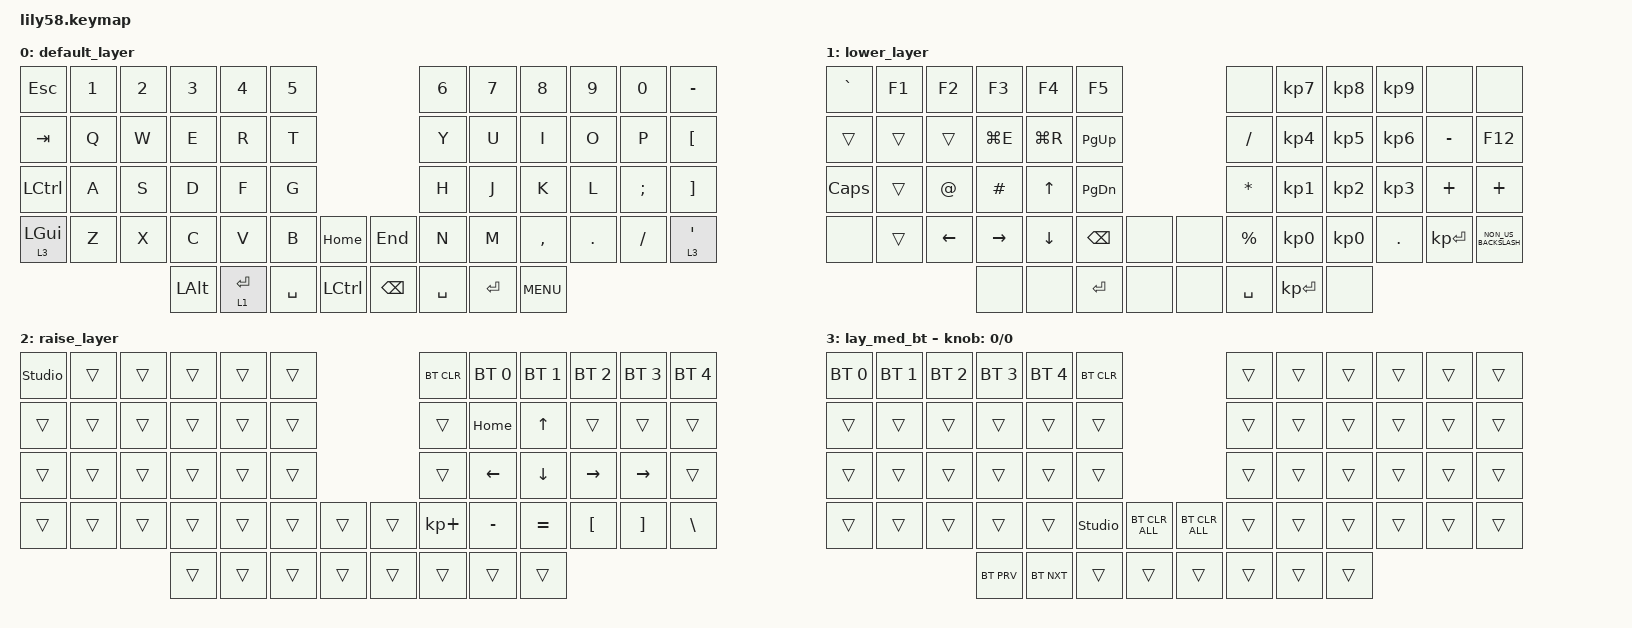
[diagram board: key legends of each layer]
/*
 * Copyright (c) 2020 The ZMK Contributors
 *
 * SPDX-License-Identifier: MIT
 */

#include <behaviors.dtsi>
#include <dt-bindings/zmk/bt.h>
#include <dt-bindings/zmk/keys.h>

/ {
    keymap {
        compatible = "zmk,keymap";

        default_layer {
            // ------------------------------------------------------------------------------------------------------------
            // |  ESC  |  1  |  2  |  3   |  4   |  5   |                   |  6   |  7    |  8    |  9   |   0   |   `   |
            // |  TAB  |  Q  |  W  |  E   |  R   |  T   |                   |  Y   |  U    |  I    |  O   |   P   |   -   |
            // |  CTRL |  A  |  S  |  D   |  F   |  G   |                   |  H   |  J    |  K    |  L   |   ;   |   '   |
            // | SHIFT |  Z  |  X  |  C   |  V   |  B   |   "["  |  |  "]"  |  N   |  M    |  ,    |  .   |   /   | SHIFT |
            //                     | ALT  | GUI  | LOWER|  SPACE |  | ENTER | RAISE| BSPC  | GUI   |

            bindings = <
&kp ESC         &kp N1  &kp N2  &kp N3    &kp N4       &kp N5                                 &kp N6     &kp N7     &kp N8      &kp N9   &kp N0    &kp MINUS
&kp TAB         &kp Q   &kp W   &kp E     &kp R        &kp T                                  &kp Y      &kp U      &kp I       &kp O    &kp P     &kp LEFT_BRACKET
&kp LCTRL       &kp A   &kp S   &kp D     &kp F        &kp G                                  &kp H      &kp J      &kp K       &kp L    &kp SEMI  &kp RIGHT_BRACKET
&lt 3 LEFT_GUI  &kp Z   &kp X   &kp C     &kp V        &kp B      &kp HOME     &kp END        &kp N      &kp M      &kp COMMA   &kp DOT  &kp FSLH  &lt 3 SQT
                                &kp LALT  &lt 1 ENTER  &kp SPACE  &kp LCTRL    &kp BACKSPACE  &kp SPACE  &kp ENTER  &kp K_MENU
            >;
        };

        lower_layer {
            // ------------------------------------------------------------------------------------------------------------
            // |       | BRDn | BRUp |  MUT |  Vo- |  Vo+ |                   |      |       |       |      |       |       |
            // |  F1   |  F2  |  F3  |  F4  |  F5  |  F6  |                   |  F7  |  F8   |  F9   |  F10 |  F11  |  F12  |
            // |   `   |  !   |  @   |  #   |  $   |  %   |                   |  ^   |  &    |  *    |  (   |   )   |   ~   |
            // |       |      |      |      |      |      |        |  |       |      |  _    |  +    |  {   |   }   |  "|"  |
            //                       |      |      |      |        |  |       |      |       |       |

            bindings = <
&kp GRAVE  &kp F1  &kp F2    &kp F3     &kp F4        &kp F5                         &none        &kp KP_NUMBER_7  &kp KP_NUMBER_8  &kp KP_NUMBER_9  &none         &none
&trans     &trans  &trans    &kp LG(E)  &kp LG(R)     &kp PAGE_UP                    &kp SLASH    &kp KP_N4        &kp KP_N5        &kp KP_N6        &kp MINUS     &kp F12
&kp CAPS   &trans  &kp AT    &kp HASH   &kp UP_ARROW  &kp PAGE_DOWN                  &kp STAR     &kp KP_N1        &kp KP_N2        &kp KP_N3        &kp PLUS      &kp PLUS
&none      &trans  &kp LEFT  &kp RIGHT  &kp DOWN      &kp BACKSPACE  &none    &none  &kp PERCENT  &kp KP_N0        &kp KP_N0        &kp DOT          &kp KP_ENTER  &kp NON_US_BACKSLASH
                             &none      &none         &kp ENTER      &none    &none  &kp SPACE    &kp KP_ENTER     &none
            >;
        };

        raise_layer {
            // ------------------------------------------------------------------------------------------------------------
            // |       |     |     |      |      |      |                   | Bt clear | Bt 0 | Bt 1 | Bt 2 | Bt 3 | Bt 4 |
            // |   `   |  1  |  2  |  3   |  4   |  5   |                   |          |      |      |      |      |      |
            // |   F1  |  F2 |  F3 |  F4  |  F5  |  F6  |                   |          |  <-  |  v   |  ^   |  ->  |      |
            // |   F7  |  F8 |  F9 |  F10 |  F11 |  F12 |        |  |       |    +     |  -   |  =   |  [   |  ]   |  \   |
            //                     |      |      |      |        |  |       |          |      |      |

            bindings = <
&studio_unlock  &trans  &trans  &trans  &trans  &trans                    &bt BT_CLR   &bt BT_SEL 0  &bt BT_SEL 1  &bt BT_SEL 2  &bt BT_SEL 3  &bt BT_SEL 4
&trans          &trans  &trans  &trans  &trans  &trans                    &trans       &kp HOME      &kp UP        &trans        &trans        &trans
&trans          &trans  &trans  &trans  &trans  &trans                    &trans       &kp LEFT      &kp DOWN      &kp RIGHT     &kp RIGHT     &trans
&trans          &trans  &trans  &trans  &trans  &trans  &trans    &trans  &kp KP_PLUS  &kp MINUS     &kp EQUAL     &kp LBKT      &kp RBKT      &kp BSLH
                                &trans  &trans  &trans  &trans    &trans  &trans       &trans        &trans
            >;
        };

        lay_med_bt {
            bindings = <
&bt BT_SEL 0  &bt BT_SEL 1  &bt BT_SEL 2  &bt BT_SEL 3  &bt BT_SEL 4  &bt BT_CLR                                        &trans  &trans  &trans  &trans  &trans  &trans
&trans        &trans        &trans        &trans        &trans        &trans                                            &trans  &trans  &trans  &trans  &trans  &trans
&trans        &trans        &trans        &trans        &trans        &trans                                            &trans  &trans  &trans  &trans  &trans  &trans
&trans        &trans        &trans        &trans        &trans        &studio_unlock  &bt BT_CLR_ALL    &bt BT_CLR_ALL  &trans  &trans  &trans  &trans  &trans  &trans
                                          &bt BT_PRV    &bt BT_NXT    &trans          &trans            &trans          &trans  &trans  &trans
            >;

            sensor-bindings = <&inc_dec_kp 0 0>;
        };
    };
};
